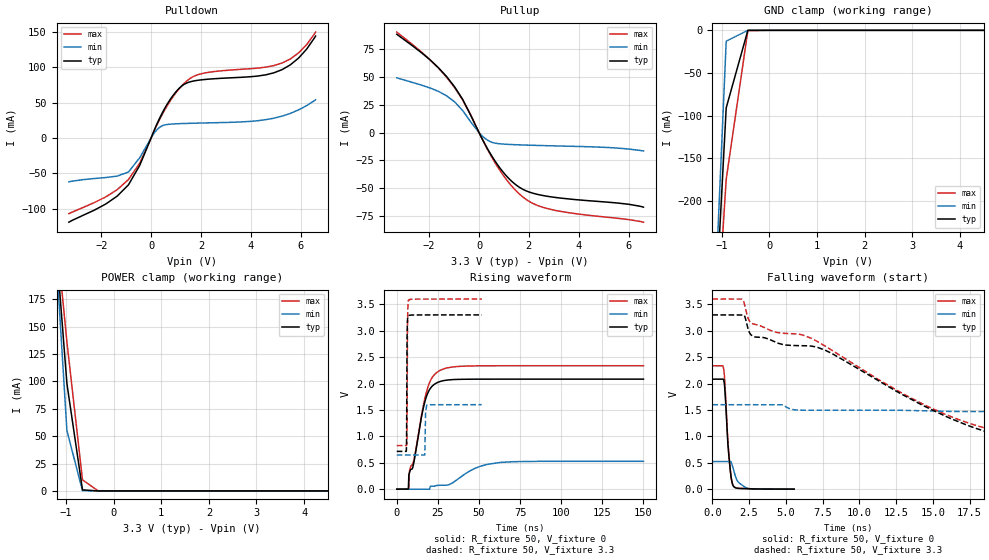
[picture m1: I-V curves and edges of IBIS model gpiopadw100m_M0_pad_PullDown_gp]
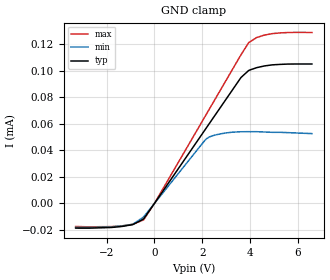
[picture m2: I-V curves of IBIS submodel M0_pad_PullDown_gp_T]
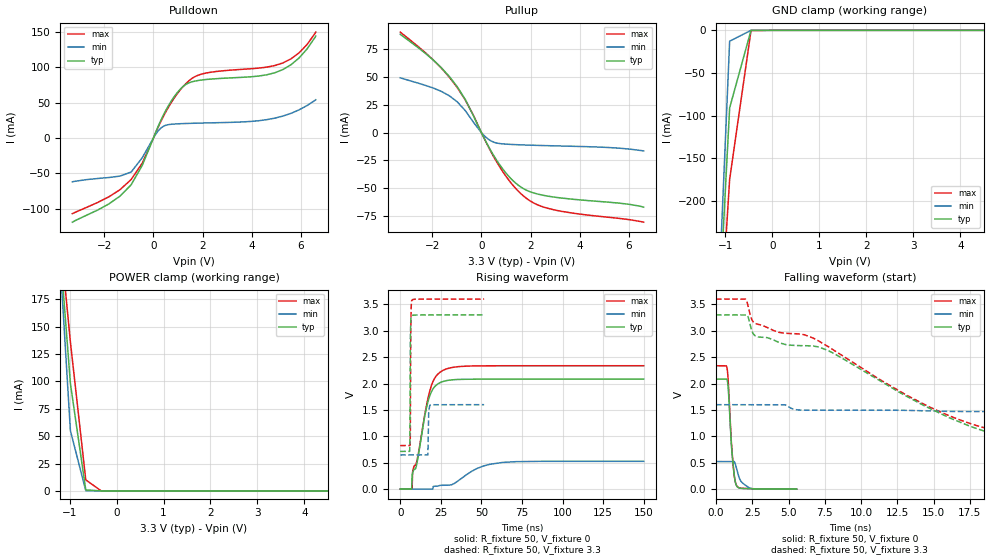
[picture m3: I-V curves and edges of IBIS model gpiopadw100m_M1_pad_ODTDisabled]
|   - ATMEL Microcontrollers -
|   IBIS model for SAM0D20_TQFP32
[IBIS Ver]   4.2
[Comment char]  |_char
[File Name]   sam0d20_3t32.ibs
[File Rev]   1.0
[Date]   6-MAY-2013 17:29:43
[Source]   By GENIBIS V3.2b - GENerate chip IBIS model - 29-APR-2013
[Notes]   Property of ATMEL Corporation
[Disclaimer]
                  (C) Copyright ATMEL Nantes 2002-2013
Atmel Nantes makes no warranty for the use of its products, other than
those expressly contained in the Company's standard warranty which is detailed
in Atmel's Terms and Conditions located on the Company's web site. The Company
assumes no responsability for any errors which may appear in this document.
The user is granted this license only to use the IBIS model and is not granted
rights to sell, load, rent, lease or license the IBIS model in whole or in part,
or in modified form to anyone other than user. User may modify the IBIS model
to suit its specific applications but rights to derivative works and such
modifications shall belong to Atmel Nantes.
This IBIS model is provided on an \"AS IS\" basis and Atmel Nantes makes
absolutely no warranty with respect to the information contained herein.
[Copyright]   Copyright (c) 2002-2013 by ATMEL Nantes SA
|   COMPONENT : SAM0D20_TQFP32
[Component]   SAM0D20_TQFP32
[Manufacturer]  ATMEL Nantes SAS
[Package]
| Package family : TQFP_L
| RLC file   : V1.0
| RLCEDIT tool   : V1.10-2005/10/06
| variable   typ   min   max
R_pkg   103.83m   51.70m   162.01m
L_pkg   3.31n   2.10n   4.63n
C_pkg   282.72f   264.00f   301.49f
[Pin]   signal_name   model_name   R_pin   L_pin   C_pin
|   Real model names   <--->   IBIS model names
|   gpiopadw100m33v1p66k25   gpiopadw100m
|   gpiopadw100m33v1p66k25   gpiopadw100m
|   gpiopadw100m33v1p66k25   gpiopadw100m
|  gpiopadtwifsmw100m33v1p66k25   gpiopadtwifsmw100m
|  gpiopadtwifsmw100m33v1p66k25   gpiopadtwifsmw100m
|  gpiopadtwifsmw100m33v1p66k25   gpiopadtwifsmw100m
|  gpiopadtwifsmw100m33v1p66k25   gpiopadtwifsmw100m
   1   PA00   gpiopadw100m  143.83m   4.16n  283.81f
   2   PA01   gpiopadw100m  129.04m   3.85n  283.17f
   3   PA02   gpiopadw100m  122.63m   3.71n  282.90f
   4   PA03   gpiopadw100m  121.90m   3.69n  282.87f
   5   PA04   gpiopadw100m  123.84m   3.74n  282.95f
   6   PA05   gpiopadw100m  121.67m   3.69n  282.86f
   7   PA06   gpiopadw100m  126.29m   3.79n  283.06f
   8   PA07   gpiopadw100m  139.51m   4.07n  283.63f
   9   VDDANA   POWER   85.12m   2.90n  291.49f
   10   GND   GND  134.09m   3.96n  283.39f
   11   PA08   gpiopadtwifsmw100m  127.51m   3.81n  283.11f
   12   PA09   gpiopadtwifsmw100m  129.43m   3.86n  283.19f
   13   PA10   gpiopadw100m  138.98m   4.06n  283.60f
   14   PA11   gpiopadw100m  155.40m   4.41n  284.32f
   15   PA14   gpiopadw100m  141.53m   4.12n  283.72f
   16   PA15   gpiopadw100m  148.30m   4.26n  284.01f
   17   PA16   gpiopadtwifsmw100m  100.30m   3.23n  287.73f
   18   PA17   gpiopadtwifsmw100m  131.28m   3.89n  283.27f
   19   PA18   gpiopadw100m  122.40m   3.70n  282.89f
   20   PA19   gpiopadw100m  123.94m   3.74n  282.95f
   21   PA22   gpiopadtwifsmw100m  121.66m   3.69n  282.86f
   22   PA23   gpiopadtwifsmw100m  126.94m   3.80n  283.08f
   23   PA24   gpiopadw100m  140.19m   4.09n  283.66f
   24   PA25   gpiopadw100m  158.06m   4.47n  284.43f
   25   PA27   gpiopadw100m  145.39m   4.20n  283.88f
   26   RESET_N   gpiopadw100m  132.32m   3.92n  283.32f
   27   PA28   gpiopadw100m  127.14m   3.81n  283.09f
   28   GND   GND   93.90m   3.09n  286.62f
   29   VDDCORE   POWER   91.49m   3.04n  286.20f
   30   VDDIO   POWER   92.70m   3.07n  286.41f
   31   PA30   gpiopadw100m  140.03m   4.08n  283.65f
   32   PA31   gpiopadw100m  156.66m   4.44n  284.37f
|   MODEL SELECTOR : gpiopadtwifsmw100m
[Model Selector]   gpiopadtwifsmw100m
gpiopadtwifsmw100m_M3_pad_twi   twi mode
gpiopadtwifsmw100m_M2_pad_puodt_gpiop   pull up odt
gpiopadtwifsmw100m_M1_pad_noodt_gpiop   odt disabled
gpiopadtwifsmw100m_M0_pad_pdodt_gpiop   pull down odt
|   MODEL SELECTOR : gpiopadw100m
[Model Selector]   gpiopadw100m
gpiopadw100m_M2_pad_PullUp_gpio   Pull Up
gpiopadw100m_M1_pad_ODTDisabled   ODT Disabled
gpiopadw100m_M0_pad_PullDown_gp   Pull Down
| Models and submodels in the file (11): gpiopadw100m_M0_pad_PullDown_gp (I/O), M0_pad_PullDown_gp_T (Dynamic_clamp), gpiopadw100m_M1_pad_ODTDisabled (I/O), gpiopadw100m_M2_pad_PullUp_gpio (I/O), M2_pad_PullUp_gpio_T (Dynamic_clamp), gpiopadtwifsmw100m_M0_pad_pdodt_gpiop (I/O), M0_pad_pdodt_gpiop_T (Dynamic_clamp), gpiopadtwifsmw100m_M1_pad_noodt_gpiop (I/O), gpiopadtwifsmw100m_M2_pad_puodt_gpiop (I/O), M2_pad_puodt_gpiop_T (Dynamic_clamp), gpiopadtwifsmw100m_M3_pad_twi (I/O_open_sink)
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|   MODEL : gpiopadw100m_M0_pad_PullDown_gp
[Model] gpiopadw100m_M0_pad_PullDown_gp
Model_type I/O
Vinl  =  0.99
Vinh  =  2.31
Vmeas =  1.650
| Capacitance   typ   min   max
C_comp   1.24002p   1.23763p   1.27582p
| Variables   typ   min   max
[GND Clamp Reference]   0   0   0
[POWER Clamp Reference]   3.3   1.6   3.6
[Pulldown Reference]   0   0   0
[Pullup Reference]   3.3   1.6   3.6
[Temperature Range]   25   -40   105
[Voltage Range]   3.3   1.6   3.6
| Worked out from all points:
|   slope of the pulldown table from 0 to 0.495 V, typ, clamps not added: 12.9 ohm
|   slope of the pullup table from 0 to 0.495 V, typ, clamps not added: 24.3 ohm
|   falling waveform, R_fixture 50, V_fixture 0: 20-80 % time 299ps typ, 492ps min, 300ps max; typ from 2.08 V to 0.001 V
|   falling waveform, R_fixture 50, V_fixture 3.3: 20-80 % time 12.8ns typ, 35ns min, 12.5ns max; typ from 3.3 V to 0.715 V
|   rising waveform, R_fixture 50, V_fixture 0: 20-80 % time 7.4ns typ, 16.7ns min, 8.69ns max; typ from 0 V to 2.08 V
|   rising waveform, R_fixture 50, V_fixture 3.3: 20-80 % time 217ps typ, 319ps min, 221ps max; typ from 0.715 V to 3.3 V
[GND Clamp]
| Voltage   I(typ)   I(min)   I(max)
-3.3V     -2.634A    -3.19A     -2.302A
-1.364V   -570.8mA   -594.8mA   -573.1mA
-909.1mV  -90.85mA   -12.72mA   -174.6mA
-454.5mV  -20.67uA   -222.6nA   -356.4uA
6.6V      0A         0A         0A
[POWER Clamp]
| Voltage   I(typ)   I(min)   I(max)
-3.3V     1.751A     2.103A     1.493A
-1.309V   280.3mA    286mA      281.7mA
-981.8mV  98.06mA    55.04mA    136mA
-654.5mV  963uA      216.9uA    10.07mA
-327.3mV  1.354uA    8.417nA    98.06uA
6.6V      0A         0A         0A
[Pulldown]
| Voltage   I(typ)   I(min)   I(max)
-3.3V     -119mA     -61.98mA   -107mA
-1.818V   -93.33mA   -55.91mA   -83.28mA
-909.1mV  -66.28mA   -48.18mA   -58.8mA
-454.5mV  -38.59mA   -27.85mA   -35.52mA
309.4mV   25.56mA    14.14mA    23.9mA
773.4mV   54.8mA     19.53mA    52.8mA
1.238V    73.69mA    20.38mA    73.94mA
1.598V    79.67mA    20.77mA    84.92mA
2.062V    82.36mA    21.18mA    91.19mA
4.936V    92.21mA    28.04mA    102.4mA
5.918V    113mA      39.7mA     120.2mA
6.6V      144.1mA    54mA       149.7mA
[Pullup]
| Voltage   I(typ)   I(min)   I(max)
-3.3V     88.24mA    49.15mA    90.19mA
-1.964V   65.21mA    40.03mA    65.35mA
-981.8mV  41.15mA    27.61mA    40.42mA
-654.5mV  29.72mA    19.7mA     29.25mA
-327.3mV  15.24mA    9.418mA    15.62mA
51.56mV   -2.336mA   -1.279mA   -2.314mA
360.9mV   -15.31mA   -7.05mA    -16.02mA
1.083V    -38.48mA   -10.47mA   -41.7mA
1.805V    -51.42mA   -11.17mA   -58.57mA
2.32V     -55.33mA   -11.52mA   -65.17mA
3.042V    -58.15mA   -11.95mA   -69.75mA
6.6V      -66.94mA   -16.45mA   -80.43mA
[Ramp]
dV/dt_r   1.24997/7.40251n  0.314091/16.5147n  1.40232/8.68884n
dV/dt_f   1.55089/12.8345n  0.573997/35.0183n  1.66518/12.5246n
R_load = 50
[Falling Waveform]
R_fixture = 50
V_fixture = 0
V_fixture_min = 0
V_fixture_max = 0
| Time   V(typ)   V(min)   V(max)
0s        2.083V     523.3mV    2.337V
766.8ps   2.071V     523.3mV    2.283V
859.1ps   1.854V     523.3mV    1.98V
1.016ns   1.031V     523.3mV    1.086V
1.166ns   507.3mV    523.3mV    511.5mV
1.301ns   182.1mV    499mV      180.2mV
1.456ns   49.46mV    351.4mV    51.8mV
1.737ns   16.79mV    143.7mV    17.7mV
2.377ns   11.46mV    15.09mV    11.25mV
5.563ns   974.4uV    463.6uV    868.6uV
[Falling Waveform]
R_fixture = 50
V_fixture = 3.3
V_fixture_min = 1.6
V_fixture_max = 3.6
| Time   V(typ)   V(min)   V(max)
0s        3.3V       1.6V       3.6V
2.025ns   3.299V     1.599V     3.599V
2.467ns   3.006V     1.599V     3.213V
2.726ns   2.9V       1.599V     3.135V
7.623ns   2.639V     1.496V     2.718V
16.56ns   1.298V     1.471V     1.337V
19.86ns   995.9mV    1.47V      1.078V
23.59ns   851.1mV    1.469V     959.9mV
75.53ns   715.4mV    777.3mV    825.1mV
150ns     715mV      643.3mV    824.6mV
[Rising Waveform]
R_fixture = 50
V_fixture = 0
V_fixture_min = 0
V_fixture_max = 0
| Time   V(typ)   V(min)   V(max)
0s        2.426nV    1.414nV    231.1nV
7.015ns   1.373mV    1.414nV    231.1nV
7.273ns   249.7mV    1.414nV    1.092mV
7.688ns   306.6mV    1.414nV    339.6mV
10.15ns   466.4mV    1.414nV    517.8mV
17.83ns   1.736V     1.414nV    1.816V
21.13ns   1.938V     54.42mV    2.096V
26.11ns   2.036V     74.09mV    2.247V
63.28ns   2.083V     507.2mV    2.337V
150ns     2.083V     527.1mV    2.337V
[Rising Waveform]
R_fixture = 50
V_fixture = 3.3
V_fixture_min = 1.6
V_fixture_max = 3.6
| Time   V(typ)   V(min)   V(max)
0s        715.2mV    647.1mV    824.7mV
5.764ns   715.9mV    647.1mV    824.7mV
6.051ns   1.67V      647.1mV    842mV
6.232ns   2.824V     647.1mV    1.111V
6.51ns    3.197V     647.1mV    3.089V
7.104ns   3.28V      647.1mV    3.577V
17.01ns   3.299V     647.5mV    3.599V
17.47ns   3.299V     1.414V     3.599V
18.37ns   3.3V       1.593V     3.599V
51.69ns   3.3V       1.6V       3.6V
[Add Submodel]
| Submodel Name Mode
M0_pad_PullDown_gp_T Non-Driving
| Submodel
[Submodel]  M0_pad_PullDown_gp_T
Submodel_type Dynamic_clamp
[GND Clamp]
| Voltage   I(typ)   I(min)   I(max)
-3.3V     -18.53uA   -18.06uA   -17.4uA
-1.818V   -18.12uA   -17.64uA   -17.46uA
-909.1mV  -15.94uA   -15.68uA   -15.74uA
-454.5mV  -11.7uA    -10.25uA   -12.4uA
0V        13.22pA    6.228pA    323.5pA
2.166V    56.71uA    48.48uA    66.94uA
2.681V    70.21uA    52.14uA    82.88uA
3.627V    94.95uA    54.06uA    112.1uA
3.955V    100.3uA    54.12uA    121.3uA
4.282V    102.4uA    54.12uA    125.1uA
4.936V    104.5uA    53.64uA    128uA
6.6V      105.1uA    52.67uA    128.9uA
|   MODEL : gpiopadw100m_M1_pad_ODTDisabled
[Model] gpiopadw100m_M1_pad_ODTDisabled
Model_type I/O
Vinl  =  0.99
Vinh  =  2.31
Vmeas =  1.650
| Capacitance   typ   min   max
C_comp   1.24002p   1.23763p   1.27582p
| Variables   typ   min   max
[GND Clamp Reference]   0   0   0
[POWER Clamp Reference]   3.3   1.6   3.6
[Pulldown Reference]   0   0   0
[Pullup Reference]   3.3   1.6   3.6
[Temperature Range]   25   -40   105
[Voltage Range]   3.3   1.6   3.6
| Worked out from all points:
|   slope of the pulldown table from 0 to 0.495 V, typ, clamps not added: 12.9 ohm
|   slope of the pullup table from 0 to 0.495 V, typ, clamps not added: 24.3 ohm
|   falling waveform, R_fixture 50, V_fixture 0: 20-80 % time 299ps typ, 492ps min, 300ps max; typ from 2.08 V to 0.001 V
|   falling waveform, R_fixture 50, V_fixture 3.3: 20-80 % time 12.8ns typ, 35ns min, 12.5ns max; typ from 3.3 V to 0.715 V
|   rising waveform, R_fixture 50, V_fixture 0: 20-80 % time 7.4ns typ, 16.7ns min, 8.69ns max; typ from 0 V to 2.08 V
|   rising waveform, R_fixture 50, V_fixture 3.3: 20-80 % time 217ps typ, 319ps min, 221ps max; typ from 0.715 V to 3.3 V
[GND Clamp]
| Voltage   I(typ)   I(min)   I(max)
-3.3V     -2.634A    -3.19A     -2.302A
-1.364V   -570.8mA   -594.8mA   -573.1mA
-909.1mV  -90.85mA   -12.72mA   -174.6mA
-454.5mV  -20.67uA   -222.6nA   -356.4uA
6.6V      0A         0A         0A
[POWER Clamp]
| Voltage   I(typ)   I(min)   I(max)
-3.3V     1.751A     2.103A     1.493A
-1.309V   280.3mA    286mA      281.7mA
-981.8mV  98.06mA    55.04mA    136mA
-654.5mV  963uA      216.9uA    10.07mA
-327.3mV  1.354uA    8.417nA    98.06uA
6.6V      0A         0A         0A
[Pulldown]
| Voltage   I(typ)   I(min)   I(max)
-3.3V     -119mA     -61.98mA   -107mA
-1.818V   -93.33mA   -55.91mA   -83.28mA
-909.1mV  -66.28mA   -48.18mA   -58.8mA
-454.5mV  -38.59mA   -27.85mA   -35.52mA
309.4mV   25.56mA    14.14mA    23.9mA
773.4mV   54.8mA     19.53mA    52.8mA
1.238V    73.69mA    20.38mA    73.94mA
1.598V    79.67mA    20.77mA    84.92mA
2.062V    82.36mA    21.18mA    91.19mA
4.936V    92.21mA    28.04mA    102.4mA
5.918V    113mA      39.7mA     120.2mA
6.6V      144.1mA    54mA       149.7mA
[Pullup]
| Voltage   I(typ)   I(min)   I(max)
-3.3V     88.24mA    49.15mA    90.19mA
-1.964V   65.21mA    40.03mA    65.35mA
-981.8mV  41.15mA    27.61mA    40.42mA
-654.5mV  29.72mA    19.7mA     29.25mA
-327.3mV  15.24mA    9.418mA    15.62mA
51.56mV   -2.336mA   -1.279mA   -2.314mA
360.9mV   -15.31mA   -7.05mA    -16.02mA
1.083V    -38.48mA   -10.47mA   -41.7mA
1.805V    -51.42mA   -11.17mA   -58.57mA
2.32V     -55.33mA   -11.52mA   -65.17mA
3.042V    -58.15mA   -11.95mA   -69.75mA
6.6V      -66.94mA   -16.45mA   -80.43mA
[Ramp]
dV/dt_r   1.24997/7.40251n  0.314091/16.5147n  1.40232/8.68884n
dV/dt_f   1.55089/12.8345n  0.573997/35.0183n  1.66518/12.5246n
R_load = 50
[Falling Waveform]
R_fixture = 50
V_fixture = 0
V_fixture_min = 0
V_fixture_max = 0
| Time   V(typ)   V(min)   V(max)
0s        2.083V     523.3mV    2.337V
766.8ps   2.071V     523.3mV    2.283V
859.1ps   1.854V     523.3mV    1.98V
1.016ns   1.031V     523.3mV    1.086V
1.166ns   507.3mV    523.3mV    511.5mV
1.301ns   182.1mV    499mV      180.2mV
1.456ns   49.46mV    351.4mV    51.8mV
1.737ns   16.79mV    143.7mV    17.7mV
2.377ns   11.46mV    15.09mV    11.25mV
5.563ns   974.4uV    463.6uV    868.6uV
[Falling Waveform]
R_fixture = 50
V_fixture = 3.3
V_fixture_min = 1.6
V_fixture_max = 3.6
| Time   V(typ)   V(min)   V(max)
0s        3.3V       1.6V       3.6V
2.025ns   3.299V     1.599V     3.599V
2.467ns   3.006V     1.599V     3.213V
2.726ns   2.9V       1.599V     3.135V
7.623ns   2.639V     1.496V     2.718V
16.56ns   1.298V     1.471V     1.337V
19.86ns   995.9mV    1.47V      1.078V
23.59ns   851.1mV    1.469V     959.9mV
75.53ns   715.4mV    777.3mV    825.1mV
150ns     715mV      643.3mV    824.6mV
[Rising Waveform]
R_fixture = 50
V_fixture = 0
V_fixture_min = 0
V_fixture_max = 0
| Time   V(typ)   V(min)   V(max)
0s        2.426nV    1.414nV    231.1nV
7.015ns   1.373mV    1.414nV    231.1nV
7.273ns   249.7mV    1.414nV    1.092mV
7.688ns   306.6mV    1.414nV    339.6mV
10.15ns   466.4mV    1.414nV    517.8mV
17.83ns   1.736V     1.414nV    1.816V
21.13ns   1.938V     54.42mV    2.096V
26.11ns   2.036V     74.09mV    2.247V
63.28ns   2.083V     507.2mV    2.337V
150ns     2.083V     527.1mV    2.337V
[Rising Waveform]
R_fixture = 50
V_fixture = 3.3
V_fixture_min = 1.6
V_fixture_max = 3.6
| Time   V(typ)   V(min)   V(max)
0s        715.2mV    647.1mV    824.7mV
5.764ns   715.9mV    647.1mV    824.7mV
6.051ns   1.67V      647.1mV    842mV
6.232ns   2.824V     647.1mV    1.111V
6.51ns    3.197V     647.1mV    3.089V
7.104ns   3.28V      647.1mV    3.577V
17.01ns   3.299V     647.5mV    3.599V
17.47ns   3.299V     1.414V     3.599V
18.37ns   3.3V       1.593V     3.599V
51.69ns   3.3V       1.6V       3.6V
